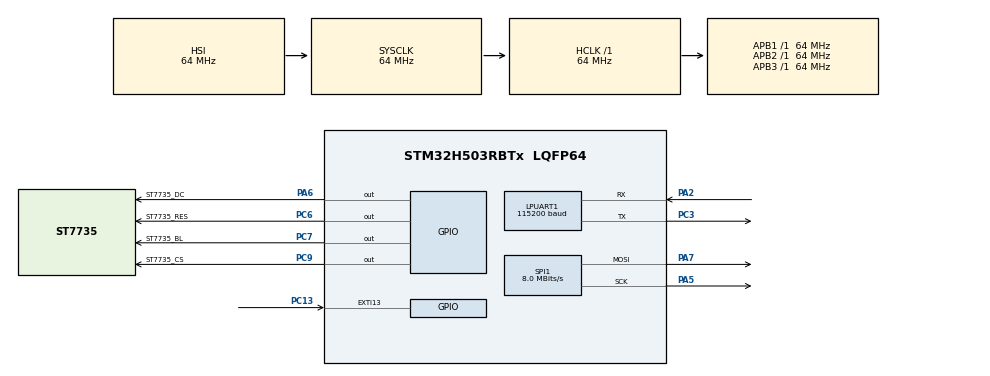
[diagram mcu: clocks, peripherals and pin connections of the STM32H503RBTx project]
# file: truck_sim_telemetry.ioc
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BOOTPATH.BootPathName=LEGACY
BOOTPATH.UserSelectedBootPath=LEGACY
LPUART1.BaudRate=115200
LPUART1.FIFOMode=UART_FIFOMODE_ENABLE
Mcu.Family=STM32H5
Mcu.Name=STM32H503RBTx
Mcu.Package=LQFP64
NUCLEO-H503RB.BUTTON=1
NUCLEO-H503RB.Bsp_Common_DEMO=true
NUCLEO-H503RB.LD2=false
NUCLEO-H503RB.VCP=true
NVIC.EXTI13_IRQn=true\:0\:0\:false\:false\:true\:false\:true\:true
NVIC.LPUART1_IRQn=true\:0\:0\:false\:false\:true\:true\:true\:true
NVIC.PriorityGroup=NVIC_PRIORITYGROUP_4
PA2.Mode=Asynchronous
PA2.Signal=LPUART1_RX
PA3.Signal=USART3_RX
PA4.Signal=USART3_TX
PA5.Mode=TX_Only_Simplex_Unidirect_Master
PA5.Signal=SPI1_SCK
PA6.GPIO_Label=ST7735_DC
PA6.Signal=GPIO_Output
PA7.Mode=TX_Only_Simplex_Unidirect_Master
PA7.Signal=SPI1_MOSI
PC13.Signal=GPXTI13
PC3.Mode=Asynchronous
PC3.Signal=LPUART1_TX
PC6.GPIO_Label=ST7735_RES
PC6.Signal=GPIO_Output
PC7.GPIO_Label=ST7735_BL
PC7.Signal=GPIO_Output
PC9.GPIO_Label=ST7735_CS
PC9.Signal=GPIO_Output
ProjectManager.HeapSize=0x200
ProjectManager.StackSize=0x400
ProjectManager.TargetToolchain=STM32CubeIDE
RCC.ADCFreq_Value=64000000
RCC.AHBFreq_Value=64000000
RCC.APB1Freq_Value=64000000
RCC.APB1TimFreq_Value=64000000
RCC.APB2Freq_Value=64000000
RCC.APB2TimFreq_Value=64000000
RCC.APB3Freq_Value=64000000
RCC.CSI_VALUE=4000000
RCC.CortexFreq_Value=64000000
RCC.EPOD_VALUE=4000000
RCC.HCLKFreq_Value=64000000
RCC.HSE_VALUE=24000000
RCC.HSI48_VALUE=48000000
RCC.HSIDiv=RCC_HSI_DIV1
RCC.HSI_VALUE=64000000
RCC.LSE_VALUE=32768
RCC.LSIRC_VALUE=32000
RCC.PLLN=32
RCC.SYSCLKFreq_VALUE=64000000
RCC.USBFreq_Value=48000000
RCC.VCOOutputFreq_Value=128000000
SPI1.BaudRatePrescaler=SPI_BAUDRATEPRESCALER_8
SPI1.CalculateBaudRate=8.0 MBits/s
SPI1.DataSize=SPI_DATASIZE_8BIT
SPI1.Direction=SPI_DIRECTION_2LINES_TXONLY
SPI1.Mode=SPI_MODE_MASTER
SPI1.VirtualType=VM_MASTER
VP_BOOTPATH_VS_BOOTPATH.Mode=BP_Activate
VP_CORTEX_M33_NS_VS_Hclk.Mode=Hclk_Mode
VP_MEMORYMAP_VS_MEMORYMAP.Mode=CurAppReg
VP_NUCLEO-H503RB_VS_BSP_COMMON.Mode=COMMON
VP_PWR_VS_DBSignals.Mode=DisableDeadBatterySignals
VP_PWR_VS_LPOM.Mode=PowerOptimisation
VP_PWR_VS_SECSignals.Mode=Security/Privilege
board=NUCLEO-H503RB

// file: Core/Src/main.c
/* USER CODE BEGIN Header */
/**
  ******************************************************************************
  * @file           : main.c
  * @brief          : Main program body
  ******************************************************************************
  * @attention
  *
  * Copyright (c) 2024 STMicroelectronics.
  * All rights reserved.
  *
  * This software is licensed under terms that can be found in the LICENSE file
  * in the root directory of this software component.
  * If no LICENSE file comes with this software, it is provided AS-IS.
  *
  ******************************************************************************
  */
/* USER CODE END Header */
#include "main.h"

/* USER CODE BEGIN Includes */
#include <string.h>

#include "fonts.h"
#include "ST7735.h"
#include "testimg.h"
/* USER CODE END Includes */

COM_InitTypeDef BspCOMInit;
__IO uint32_t BspButtonState = BUTTON_RELEASED;

UART_HandleTypeDef hlpuart1;

SPI_HandleTypeDef hspi1;

void SystemClock_Config(void);
static void MX_GPIO_Init(void);
static void MX_LPUART1_UART_Init(void);
static void MX_SPI1_Init(void);

/* USER CODE BEGIN 0 */
uint8_t r = 1;
void demoTFT(void)
{
	ST7735_SetRotation(r);
	ST7735_FillScreen(ST7735_BLACK);

	for(int x = 0; x < ST7735_GetWidth(); x++)
	{
		ST7735_DrawPixel(x, 0, ST7735_WHITE);
		ST7735_DrawPixel(x, ST7735_GetHeight() - 1, ST7735_WHITE);
	}

	for(int y = 0; y < ST7735_GetHeight(); y++)
	{
		ST7735_DrawPixel(0, y, ST7735_WHITE);
		ST7735_DrawPixel(ST7735_GetWidth() - 1, y, ST7735_WHITE);
	}

	ST7735_DrawLine(0, 0, ST7735_GetWidth(), ST7735_GetHeight(),ST7735_WHITE);
	ST7735_DrawLine(ST7735_GetWidth(), 0, 0, ST7735_GetHeight(),ST7735_WHITE);
	HAL_Delay(2000);

	ST7735_FillScreen(ST7735_BLACK);
	for (int i = 0; i < ST7735_GetHeight(); i += 4)
	{
		ST7735_DrawFastHLine(0, i, ST7735_GetWidth() - 1, ST7735_WHITE);
	}

	for (int i = 0; i < ST7735_GetWidth(); i += 4)
	{
		ST7735_DrawFastVLine(i, 0, ST7735_GetHeight() - 1, ST7735_WHITE);
	}
	HAL_Delay(2000);

	 // Check fonts
	ST7735_FillScreen(ST7735_BLACK);
	ST7735_DrawString(0, 0,"Font_7x10, red on black,ABCDEF",Font_7x10,ST7735_RED, ST7735_BLACK);
	ST7735_DrawString(0, 3*10, "Font_11x18, green,ABCD",Font_11x18,ST7735_GREEN, ST7735_BLACK);
	ST7735_DrawString(0, 3*10+3*18, "Font_16x26 ,AB", Font_16x26, ST7735_BLUE, ST7735_BLACK);
	HAL_Delay(2000);

	 // Check colors
	ST7735_FillScreen(ST7735_BLACK);
	ST7735_DrawString(0, 0, "BLACK", Font_11x18, ST7735_WHITE, ST7735_BLACK);
	HAL_Delay(500);

	ST7735_FillScreen(ST7735_BLUE);
	ST7735_DrawString(0, 0, "BLUE", Font_11x18, ST7735_BLACK, ST7735_BLUE);
	HAL_Delay(500);

	ST7735_FillScreen(ST7735_RED);
	ST7735_DrawString(0, 0, "RED", Font_11x18, ST7735_BLACK, ST7735_RED);
	HAL_Delay(500);

	ST7735_FillScreen(ST7735_GREEN);
	ST7735_DrawString(0, 0, "GREEN", Font_11x18, ST7735_BLACK, ST7735_GREEN);
	HAL_Delay(500);

	ST7735_FillScreen(ST7735_CYAN);
	ST7735_DrawString(0, 0, "CYAN", Font_11x18, ST7735_BLACK, ST7735_CYAN);
	HAL_Delay(500);

	ST7735_FillScreen(ST7735_MAGENTA);
	ST7735_DrawString(0, 0, "MAGENTA",Font_11x18, ST7735_BLACK, ST7735_MAGENTA);
	HAL_Delay(500);

	ST7735_FillScreen(ST7735_YELLOW);
	ST7735_DrawString(0, 0, "YELLOW", Font_11x18, ST7735_BLACK, ST7735_YELLOW);
	HAL_Delay(500);

	ST7735_FillScreen(ST7735_WHITE);
	ST7735_DrawString(0, 0, "WHITE", Font_11x18, ST7735_BLACK, ST7735_WHITE);
	HAL_Delay(500);

	// Draw circles
	ST7735_FillScreen(ST7735_BLACK);
	for (int i = 0; i < ST7735_GetHeight() / 2; i += 2)
	{
		ST7735_DrawCircle(ST7735_GetWidth()/2,ST7735_GetHeight()/2,i,ST7735_YELLOW);
	}
	HAL_Delay(1000);

	ST7735_FillScreen(ST7735_BLACK);
	ST7735_FillTriangle(0, 0, ST7735_GetWidth() / 2, ST7735_GetHeight(),
	ST7735_GetWidth(), 0, ST7735_RED);
	HAL_Delay(1000);

	ST7735_DrawImage(0,0, 128, 90, (uint16_t*) test_img_128x128);
	HAL_Delay(3000);
	ST7735_FillScreen(ST7735_WHITE);
}
/* USER CODE END 0 */

int main(void)
{

  /* MCU Configuration--------------------------------------------------------*/

  /* Reset of all peripherals, Initializes the Flash interface and the Systick. */
  HAL_Init();

  /* Configure the system clock */
  SystemClock_Config();

  /* Initialize all configured peripherals */
  MX_GPIO_Init();
  MX_LPUART1_UART_Init();
  MX_SPI1_Init();

  /* Initialize USER push-button, will be used to trigger an interrupt each time it's pressed.*/
  BSP_PB_Init(BUTTON_USER, BUTTON_MODE_EXTI);

  /* Initialize COM1 port (115200, 8 bits (7-bit data + 1 stop bit), no parity */
  BspCOMInit.BaudRate   = 115200;
  BspCOMInit.WordLength = COM_WORDLENGTH_8B;
  BspCOMInit.StopBits   = COM_STOPBITS_1;
  BspCOMInit.Parity     = COM_PARITY_NONE;
  BspCOMInit.HwFlowCtl  = COM_HWCONTROL_NONE;
  if (BSP_COM_Init(COM1, &BspCOMInit) != BSP_ERROR_NONE)
  {
    Error_Handler();
  }

  /* USER CODE BEGIN BSP */

  /* -- Sample board code to send message over COM1 port ---- */
  printf("Welcome to STM32 world !\r\n");
  ST7735_Init();
  ST7735_Backlight_On();
  ST7735_SetRotation(3);
//  demoTFT();
  ST7735_FillScreen(ST7735_BLACK);

  /* USER CODE END BSP */

  /* Infinite loop */
  /* USER CODE BEGIN WHILE */
  const char * message = "testing...";
  const uint16_t CENTER_X = ST7735_GetWidth() / 2;
  const uint16_t CENTER_Y = ST7735_GetHeight() / 2;
  uint8_t uart_rx[1] = {0};
  char receive[100] = {0};
  uint8_t receive_index = 0;
  while (1)
  {

    /* -- Sample board code for User push-button in interrupt mode ---- */
    if (BspButtonState == BUTTON_PRESSED)
    {
      /* Update button state */
      BspButtonState = BUTTON_RELEASED;

      /* ..... Perform your action ..... */
      HAL_UART_Transmit(&hlpuart1, (uint8_t *)message, 11, 1000);

    }

    if( HAL_UART_Receive(&hlpuart1, uart_rx, 1, 100) == HAL_OK ) {
    	if(uart_rx[0] == 0) {
    		for( uint8_t i = receive_index; i < 10; i++ ) {
    			receive[ i ] = ' ';
    		}
    		receive[ 10 ] = 0;

    		uint16_t x = CENTER_X - ((16/2) * receive_index);
    		uint16_t y = CENTER_Y - ((26/2) * 1);
    		ST7735_DrawString(x, y, receive,Font_16x26, ST7735_WHITE, ST7735_BLACK);

    		receive_index = 0;
    		memset(receive, 0, 100);
    	} else if( uart_rx[0] >= 48 && uart_rx[0] <= 57 ) {
        	receive[receive_index++] = (char)uart_rx[0];
    	} else {
    		// Invalid characters
    	}
    }
    /* USER CODE END WHILE */

  }
}

void SystemClock_Config(void)
{
  RCC_OscInitTypeDef RCC_OscInitStruct = {0};
  RCC_ClkInitTypeDef RCC_ClkInitStruct = {0};

  /** Configure the main internal regulator output voltage
  */
  __HAL_PWR_VOLTAGESCALING_CONFIG(PWR_REGULATOR_VOLTAGE_SCALE3);

  while(!__HAL_PWR_GET_FLAG(PWR_FLAG_VOSRDY)) {}

  /** Initializes the RCC Oscillators according to the specified parameters
  * in the RCC_OscInitTypeDef structure.
  */
  RCC_OscInitStruct.OscillatorType = RCC_OSCILLATORTYPE_HSI|RCC_OSCILLATORTYPE_CSI;
  RCC_OscInitStruct.HSIState = RCC_HSI_ON;
  RCC_OscInitStruct.HSIDiv = RCC_HSI_DIV1;
  RCC_OscInitStruct.HSICalibrationValue = RCC_HSICALIBRATION_DEFAULT;
  RCC_OscInitStruct.CSIState = RCC_CSI_ON;
  RCC_OscInitStruct.CSICalibrationValue = RCC_CSICALIBRATION_DEFAULT;
  RCC_OscInitStruct.PLL.PLLState = RCC_PLL_ON;
  RCC_OscInitStruct.PLL.PLLSource = RCC_PLL1_SOURCE_CSI;
  RCC_OscInitStruct.PLL.PLLM = 1;
  RCC_OscInitStruct.PLL.PLLN = 32;
  RCC_OscInitStruct.PLL.PLLP = 2;
  RCC_OscInitStruct.PLL.PLLQ = 2;
  RCC_OscInitStruct.PLL.PLLR = 2;
  RCC_OscInitStruct.PLL.PLLRGE = RCC_PLL1_VCIRANGE_2;
  RCC_OscInitStruct.PLL.PLLVCOSEL = RCC_PLL1_VCORANGE_WIDE;
  RCC_OscInitStruct.PLL.PLLFRACN = 0;
  if (HAL_RCC_OscConfig(&RCC_OscInitStruct) != HAL_OK)
  {
    Error_Handler();
  }

  /** Initializes the CPU, AHB and APB buses clocks
  */
  RCC_ClkInitStruct.ClockType = RCC_CLOCKTYPE_HCLK|RCC_CLOCKTYPE_SYSCLK
                              |RCC_CLOCKTYPE_PCLK1|RCC_CLOCKTYPE_PCLK2
                              |RCC_CLOCKTYPE_PCLK3;
  RCC_ClkInitStruct.SYSCLKSource = RCC_SYSCLKSOURCE_HSI;
  RCC_ClkInitStruct.AHBCLKDivider = RCC_SYSCLK_DIV1;
  RCC_ClkInitStruct.APB1CLKDivider = RCC_HCLK_DIV1;
  RCC_ClkInitStruct.APB2CLKDivider = RCC_HCLK_DIV1;
  RCC_ClkInitStruct.APB3CLKDivider = RCC_HCLK_DIV1;

  if (HAL_RCC_ClockConfig(&RCC_ClkInitStruct, FLASH_LATENCY_3) != HAL_OK)
  {
    Error_Handler();
  }

  /** Configure the programming delay
  */
  __HAL_FLASH_SET_PROGRAM_DELAY(FLASH_PROGRAMMING_DELAY_1);
}

static void MX_LPUART1_UART_Init(void)
{

  hlpuart1.Instance = LPUART1;
  hlpuart1.Init.BaudRate = 115200;
  hlpuart1.Init.WordLength = UART_WORDLENGTH_8B;
  hlpuart1.Init.StopBits = UART_STOPBITS_1;
  hlpuart1.Init.Parity = UART_PARITY_NONE;
  hlpuart1.Init.Mode = UART_MODE_TX_RX;
  hlpuart1.Init.HwFlowCtl = UART_HWCONTROL_NONE;
  hlpuart1.Init.OneBitSampling = UART_ONE_BIT_SAMPLE_DISABLE;
  hlpuart1.AdvancedInit.AdvFeatureInit = UART_ADVFEATURE_NO_INIT;
  hlpuart1.FifoMode = UART_FIFOMODE_ENABLE;
  if (HAL_UART_Init(&hlpuart1) != HAL_OK)
  {
    Error_Handler();
  }
  if (HAL_UARTEx_SetTxFifoThreshold(&hlpuart1, UART_TXFIFO_THRESHOLD_1_8) != HAL_OK)
  {
    Error_Handler();
  }
  if (HAL_UARTEx_SetRxFifoThreshold(&hlpuart1, UART_RXFIFO_THRESHOLD_1_8) != HAL_OK)
  {
    Error_Handler();
  }
  if (HAL_UARTEx_EnableFifoMode(&hlpuart1) != HAL_OK)
  {
    Error_Handler();
  }

}

static void MX_SPI1_Init(void)
{

  /* SPI1 parameter configuration*/
  hspi1.Instance = SPI1;
  hspi1.Init.Mode = SPI_MODE_MASTER;
  hspi1.Init.Direction = SPI_DIRECTION_2LINES_TXONLY;
  hspi1.Init.DataSize = SPI_DATASIZE_8BIT;
  hspi1.Init.CLKPolarity = SPI_POLARITY_LOW;
  hspi1.Init.CLKPhase = SPI_PHASE_1EDGE;
  hspi1.Init.NSS = SPI_NSS_SOFT;
  hspi1.Init.BaudRatePrescaler = SPI_BAUDRATEPRESCALER_8;
  hspi1.Init.FirstBit = SPI_FIRSTBIT_MSB;
  hspi1.Init.TIMode = SPI_TIMODE_DISABLE;
  hspi1.Init.CRCCalculation = SPI_CRCCALCULATION_DISABLE;
  hspi1.Init.CRCPolynomial = 0x7;
  hspi1.Init.NSSPMode = SPI_NSS_PULSE_ENABLE;
  hspi1.Init.NSSPolarity = SPI_NSS_POLARITY_LOW;
  hspi1.Init.FifoThreshold = SPI_FIFO_THRESHOLD_01DATA;
  hspi1.Init.MasterSSIdleness = SPI_MASTER_SS_IDLENESS_00CYCLE;
  hspi1.Init.MasterInterDataIdleness = SPI_MASTER_INTERDATA_IDLENESS_00CYCLE;
  hspi1.Init.MasterReceiverAutoSusp = SPI_MASTER_RX_AUTOSUSP_DISABLE;
  hspi1.Init.MasterKeepIOState = SPI_MASTER_KEEP_IO_STATE_DISABLE;
  hspi1.Init.IOSwap = SPI_IO_SWAP_DISABLE;
  hspi1.Init.ReadyMasterManagement = SPI_RDY_MASTER_MANAGEMENT_INTERNALLY;
  hspi1.Init.ReadyPolarity = SPI_RDY_POLARITY_HIGH;
  if (HAL_SPI_Init(&hspi1) != HAL_OK)
  {
    Error_Handler();
  }

}

static void MX_GPIO_Init(void)
{
  GPIO_InitTypeDef GPIO_InitStruct = {0};

  /* GPIO Ports Clock Enable */
  __HAL_RCC_GPIOC_CLK_ENABLE();
  __HAL_RCC_GPIOA_CLK_ENABLE();

  /*Configure GPIO pin Output Level */
  HAL_GPIO_WritePin(ST7735_DC_GPIO_Port, ST7735_DC_Pin, GPIO_PIN_RESET);

  /*Configure GPIO pin Output Level */
  HAL_GPIO_WritePin(GPIOC, ST7735_RES_Pin|ST7735_BL_Pin|ST7735_CS_Pin, GPIO_PIN_RESET);

  /*Configure GPIO pin : ST7735_DC_Pin */
  GPIO_InitStruct.Pin = ST7735_DC_Pin;
  GPIO_InitStruct.Mode = GPIO_MODE_OUTPUT_PP;
  GPIO_InitStruct.Pull = GPIO_NOPULL;
  GPIO_InitStruct.Speed = GPIO_SPEED_FREQ_LOW;
  HAL_GPIO_Init(ST7735_DC_GPIO_Port, &GPIO_InitStruct);

  /*Configure GPIO pins : ST7735_RES_Pin ST7735_BL_Pin ST7735_CS_Pin */
  GPIO_InitStruct.Pin = ST7735_RES_Pin|ST7735_BL_Pin|ST7735_CS_Pin;
  GPIO_InitStruct.Mode = GPIO_MODE_OUTPUT_PP;
  GPIO_InitStruct.Pull = GPIO_NOPULL;
  GPIO_InitStruct.Speed = GPIO_SPEED_FREQ_LOW;
  HAL_GPIO_Init(GPIOC, &GPIO_InitStruct);

}

/**
  * @brief BSP Push Button callback
  * @param Button Specifies the pressed button
  * @retval None
  */
void BSP_PB_Callback(Button_TypeDef Button)
{
  if (Button == BUTTON_USER)
  {
    BspButtonState = BUTTON_PRESSED;
  }
}

void Error_Handler(void)
{
  __disable_irq();
  while (1)
  {
  }
}
